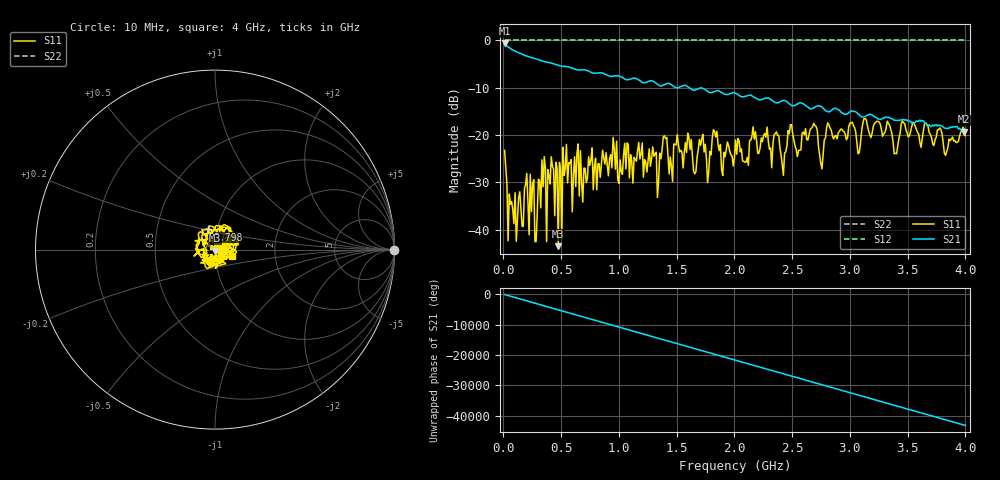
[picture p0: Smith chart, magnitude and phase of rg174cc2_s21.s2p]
! Anritsu VNA Master:  Model: MS2024B
! SN:  2417009
! /card0/usr/rg174cc2_s21.s2p
! Existing Calibration Information:
! TYPE:  Current Settings,  Active Cal Settings
! TIME:  10/07/2026 02:11:36 AM,  10/07/2026 01:30:09 AM
! INTERNAL TEMP:  51.8 C,  49.0 C
! # POINTS:  396,  396
! START FREQ:  10.000 MHz,  10.000 MHz
! STOP FREQ:  4.000 GHz,  4.000 GHz
! SOURCE POWER:  Default,  Default
! IFBW:  1 kHz,  1 kHz
! AVG FACTOR:  16 ,  16
! REF PLANE 1:  0 mm,  0 mm
! REF PLANE 2:  0 mm,  0 mm
! CAL TYPE:  1P2P S11,S21,  1P2P S11,S21
! CAL METHOD:  SOLT,  SOLT
! CAL LINE TYPE:  Coax,  Coax
! DUT PORT 1:  N-Conn(M),  N-Conn(M)
! DUT PORT 2:  N-Conn(M),  N-Conn(M)
! CAL STATUS:  OK: Accuracy High,  --
# GHZ S DB R 50.0
! FREQ.GHZ  S11DB  S11A  S21DB  S21A  S12DB  S12A  S22DB  S22A
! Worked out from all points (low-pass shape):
!   396 points, 10 MHz to 4 GHz, reference 50 ohm
!   highest |S21| = -0.58 dB at 10 MHz (marker M1); lowest = -19.3 dB at 3.99 GHz (marker M2)
!   |S21| within 3 dB of the highest: start of sweep to 235.8 MHz
!   lowest |S11| = -43.5 dB at 474.7 MHz (marker M3), VSWR 1.01, Z = 50.2 - j0.644 ohm
!   |S11| at or under -10 dB: start of sweep to end of sweep
!   |S22| runs from 0.0 to 0.0 dB; largest |S21 - S12| = 1.8
!   S11 on the Smith chart (normalised r, x): 10 MHz: 0.94, -0.12; 2.798 GHz: 0.90, +0.21; 4 GHz: 1.20, -0.08
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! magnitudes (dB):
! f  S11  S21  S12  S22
! 10 MHz  -23.2  -0.6  0.0  0.0
! 40.3 MHz  -42.4  -1.4  0.0  0.0
! 201.9 MHz  -28.1  -3.3  0.0  0.0
! 282.7 MHz  -42.5  -3.9  0.0  0.0
! 353.4 MHz  -24.6  -4.5  0.0  0.0
! 373.6 MHz  -42.6  -4.6  0.0  0.0
! 383.7 MHz  -27.3  -4.6  0.0  0.0
! 414.1 MHz  -24.6  -4.8  0.0  0.0
! 444.4 MHz  -37.1  -5.0  0.0  0.0
! 464.6 MHz  -27.1  -5.2  0.0  0.0
! 474.7 MHz  -43.5  -5.2  0.0  0.0
! 484.8 MHz  -25.8  -5.3  0.0  0.0
! 505 MHz  -42.2  -5.4  0.0  0.0
! 515.1 MHz  -22.6  -5.5  0.0  0.0
! 676.7 MHz  -30.0  -6.2  0.0  0.0
! 1.343 GHz  -29.8  -9.4  0.0  0.0
! 2.01 GHz  -21.0  -11.2  0.0  0.0
! 2.677 GHz  -18.2  -14.3  0.0  0.0
! 2.798 GHz  -18.4  -15.0  0.0  0.0
! 3.343 GHz  -17.9  -16.3  0.0  0.0
! 3.99 GHz  -18.8  -19.3  0.0  0.0
! 4 GHz  -20.1  -19.2  0.0  0.0
